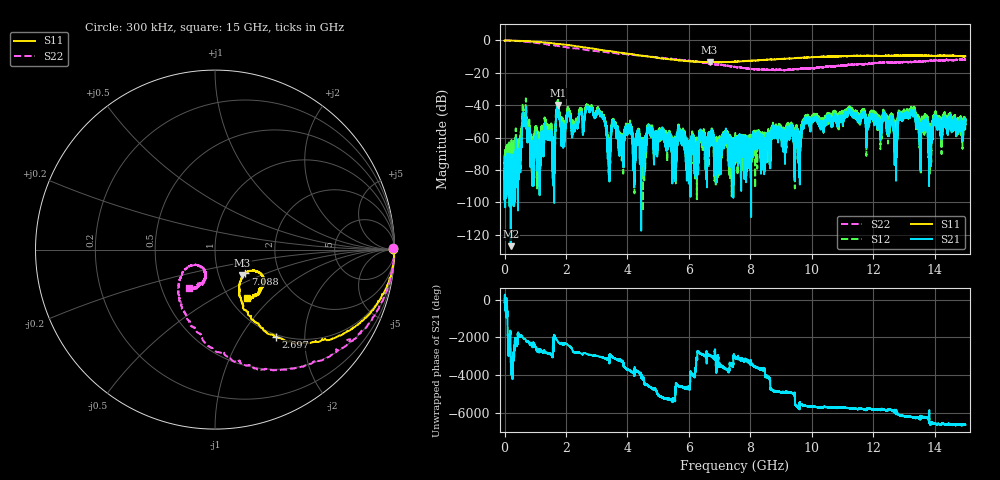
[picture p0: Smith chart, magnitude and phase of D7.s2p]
!Agilent Technologies,N5230C,SG49000117,A.08.50.07
!Agilent N5230C: A.08.50.07
!Date: Monday, December 11, 2023 23:29:42
!Correction: S11(Full 2 Port(1,2))
!S21(Full 2 Port(1,2))
!S12(Full 2 Port(1,2))
!S22(Full 2 Port(1,2))
!S2P File: Measurements: S11, S21, S12, S22:
# Hz S  RI  R 50
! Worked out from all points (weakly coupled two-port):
!   20001 points, 300 kHz to 15 GHz, reference 50 ohm
!   highest |S21| = -39.79 dB at 1.728 GHz (marker M1); lowest = -127.0 dB at 200.5 MHz (marker M2)
!   lowest |S11| = -13.5 dB at 6.672 GHz (marker M3), VSWR 1.53, Z = 64.7 - j19.5 ohm
!   |S11| at or under -10 dB: 4.695 GHz to 10.33 GHz (5.638 GHz wide, 75 % of centre); 10.33367 GHz to 10.34005 GHz (6.387 MHz wide, 0.0618 % of centre); 10.4 GHz to 10.46 GHz (61.02 MHz wide, 0.585 % of centre) (the widest 3 of 27)
!   |S22| runs from -18.5 to 0.0 dB; largest |S21 - S12| = 0.008
!   S11 on the Smith chart (normalised r, x): 300 kHz: open; 2.697 GHz: 0.96, -1.45; 7.088 GHz: 1.35, -0.37; 15 GHz: 1.19, -0.73
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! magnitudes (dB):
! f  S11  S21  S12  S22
! 300 kHz  -0.1  -72.0  -72.2  -0.1
! 200.5 MHz  0.0  -127.0  -78.6  -0.1
! 454.8 MHz  -0.2  -69.6  -67.9  -0.4
! 642.3 MHz  -0.3  -52.4  -47.5  -0.7
! 904 MHz  -0.6  -69.2  -78.2  -1.2
! 1.365 GHz  -1.3  -56.6  -53.8  -2.3
! 1.585 GHz  -1.8  -81.7  -69.1  -2.9
! 1.728 GHz  -2.2  -39.8  -37.2  -3.5
! 1.908 GHz  -2.5  -60.2  -56.8  -3.9
! 2.501 GHz  -4.0  -44.6  -42.1  -5.3
! 2.697 GHz  -4.5  -40.9  -39.8  -6.0
! 3.205 GHz  -6.1  -47.5  -47.1  -7.0
! 3.394 GHz  -6.5  -70.5  -70.8  -7.5
! 3.555 GHz  -6.9  -51.0  -50.5  -7.7
! 4.491 GHz  -9.5  -63.1  -63.3  -9.5
! 5 GHz  -10.8  -62.2  -60.5  -10.5
! 6.672 GHz  -13.5  -58.8  -58.6  -14.1
! 7.088 GHz  -13.4  -61.1  -59.5  -15.1
! 7.5 GHz  -13.1  -71.8  -60.7  -16.3
! 10 GHz  -10.3  -47.9  -47.2  -17.1
! 12.5 GHz  -9.4  -53.5  -51.0  -13.7
! 15 GHz  -9.8  -51.4  -49.1  -11.7
